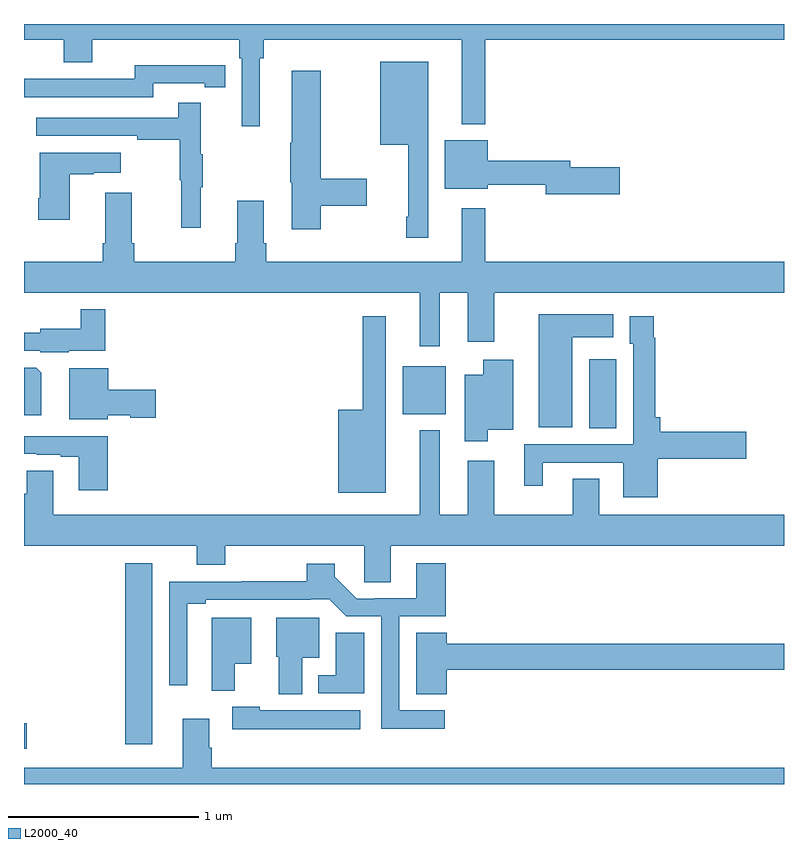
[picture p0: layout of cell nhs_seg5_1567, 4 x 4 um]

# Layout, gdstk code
import gdstk
lib = gdstk.Library(unit=1e-6, precision=1e-09)
def R(c, l, rs):  # rectangles x0, y0, x1, y1
    for r in rs: c.add(gdstk.rectangle(r[:2], r[2:], *l))
def P(c, l, *ps):  # polygons
    for p in ps: c.add(gdstk.Polygon(p, *l))
L2000_40 = (2000, 40)

nhs_seg5_1567 = lib.new_cell('nhs_seg5_1567')
R(nhs_seg5_1567, L2000_40, [(205,896.984,205.015,897.119), (205.532,897.009,205.675,897.961), (207.974,898.672,208.117,899.035), (206.993,898.745,207.22,898.999)])
P(nhs_seg5_1567, L2000_40, [(206.242,900.62),(206.261,900.62),(206.261,900.716),(207.305,900.716),(207.305,900.272),(207.427,900.272),(207.427,900.716),(209,900.716),(209,900.799),(205,900.799),(205,900.716),(205.208,900.716),(205.208,900.599),(205.36,900.599),(205.36,900.716),(206.132,900.716),(206.132,900.62),(206.145,900.62),(206.145,900.261),(206.242,900.261)],
  [(207.127,900.601),(206.876,900.601),(206.876,900.164),(207.023,900.164),(207.023,899.785),(207.013,899.785),(207.013,899.673),(207.127,899.673)],
  [(205.68,900.486),(205.952,900.486),(205.952,900.466),(206.06,900.466),(206.06,900.582),(205.952,900.582),(205.952,900.583),(205.584,900.583),(205.584,900.51),(205.124,900.51),(205.124,900.512),(205,900.512),(205,900.414),(205.68,900.414)],
  [(206.562,899.842),(206.803,899.842),(206.803,899.984),(206.562,899.984),(206.562,900.553),(206.408,900.553),(206.408,900.173),(206.401,900.173),(206.401,899.967),(206.408,899.967),(206.408,899.718),(206.562,899.718)],
  [(205.931,899.939),(205.942,899.939),(205.942,900.113),(205.931,900.113),(205.931,900.385),(205.813,900.385),(205.813,900.306),(205.065,900.306),(205.065,900.21),(205.597,900.21),(205.597,900.19),(205.821,900.19),(205.821,899.976),(205.828,899.976),(205.828,899.727),(205.931,899.727)],
  [(208.135,900.044),(207.874,900.044),(207.874,900.08),(207.442,900.08),(207.442,900.187),(207.215,900.187),(207.215,899.933),(207.442,899.933),(207.442,899.952),(207.746,899.952),(207.746,899.902),(208.135,899.902)],
  [(205.24,900.007),(205.367,900.007),(205.367,900.017),(205.51,900.017),(205.51,900.121),(205.082,900.121),(205.082,899.881),(205.075,899.881),(205.075,899.769),(205.24,899.769)],
  [(207.187,899.384),(207.335,899.384),(207.335,899.127),(207.475,899.127),(207.475,899.384),(209,899.384),(209,899.548),(207.427,899.548),(207.427,899.83),(207.305,899.83),(207.305,899.548),(206.276,899.548),(206.276,899.644),(206.263,899.644),(206.263,899.869),(206.123,899.869),(206.123,899.644),(206.111,899.644),(206.111,899.548),(205.58,899.548),(205.58,899.644),(205.567,899.644),(205.567,899.911),(205.427,899.911),(205.427,899.644),(205.415,899.644),(205.415,899.548),(205,899.548),(205,899.384),(207.083,899.384),(207.083,899.103),(207.187,899.103)],
  [(205.236,899.078),(205.427,899.078),(205.427,899.299),(205.299,899.299),(205.299,899.194),(205.086,899.194),(205.086,899.175),(205,899.175),(205,899.079),(205.086,899.079),(205.086,899.072),(205.236,899.072)],
  [(207.886,899.15),(208.102,899.15),(208.102,899.272),(207.71,899.272),(207.71,898.676),(207.886,898.676)],
  [(208.336,898.51),(208.801,898.51),(208.801,898.652),(208.349,898.652),(208.349,898.729),(208.322,898.729),(208.322,899.147),(208.315,899.147),(208.315,899.26),(208.187,899.26),(208.187,899.115),(208.206,899.115),(208.206,898.587),(207.632,898.587),(207.632,898.368),(207.73,898.368),(207.73,898.491),(208.154,898.491),(208.154,898.307),(208.336,898.307)],
  [(206.905,899.26),(206.784,899.26),(206.784,898.768),(206.654,898.768),(206.654,898.331),(206.905,898.331)],
  [(207.442,898.664),(207.574,898.664),(207.574,899.032),(207.416,899.032),(207.416,898.954),(207.32,898.954),(207.32,898.602),(207.442,898.602)],
  [(205.09,898.964),(205.064,898.99),(205,898.99),(205,898.739),(205.09,898.739)],
  [(205.44,898.739),(205.56,898.739),(205.56,898.727),(205.693,898.727),(205.693,898.874),(205.444,898.874),(205.444,898.988),(205.238,898.988),(205.238,898.718),(205.44,898.718)],
  [(206.929,898.052),(209,898.052),(209,898.216),(208.027,898.216),(208.027,898.406),(207.887,898.406),(207.887,898.216),(207.475,898.216),(207.475,898.501),(207.335,898.501),(207.335,898.216),(207.187,898.216),(207.187,898.66),(207.083,898.66),(207.083,898.216),(205.153,898.216),(205.153,898.448),(205.014,898.448),(205.014,898.326),(205.001,898.326),(205.001,898.216),(205,898.216),(205,898.052),(205.91,898.052),(205.91,897.953),(206.058,897.953),(206.058,898.052),(206.79,898.052),(206.79,897.862),(206.929,897.862)],
  [(205.442,898.63),(205,898.63),(205,898.536),(205.066,898.536),(205.066,898.533),(205.193,898.533),(205.193,898.521),(205.289,898.521),(205.289,898.344),(205.442,898.344)],
  [(207.214,897.186),(206.976,897.186),(206.976,897.681),(207.221,897.681),(207.221,897.961),(207.065,897.961),(207.065,897.777),(206.845,897.777),(206.845,897.774),(206.751,897.774),(206.635,897.89),(206.635,897.958),(206.488,897.958),(206.488,897.866),(206.146,897.866),(206.146,897.864),(205.764,897.864),(205.764,897.318),(205.86,897.318),(205.86,897.748),(205.957,897.748),(205.957,897.768),(206.51,897.768),(206.51,897.771),(206.606,897.771),(206.696,897.681),(206.88,897.681),(206.88,897.089),(207.214,897.089)],
  [(206.11,897.431),(206.197,897.431),(206.197,897.673),(205.988,897.673),(205.988,897.29),(206.11,897.29)],
  [(206.464,897.464),(206.554,897.464),(206.554,897.673),(206.327,897.673),(206.327,897.468),(206.342,897.468),(206.342,897.272),(206.464,897.272)],
  [(207.226,897.4),(209,897.4),(209,897.536),(207.226,897.536),(207.226,897.596),(207.065,897.596),(207.065,897.271),(207.226,897.271)],
  [(206.791,897.596),(206.642,897.596),(206.642,897.372),(206.549,897.372),(206.549,897.276),(206.791,897.276)],
  [(206.77,897.187),(206.241,897.187),(206.241,897.205),(206.097,897.205),(206.097,897.086),(206.77,897.086)],
  [(209,896.884),(205.988,896.884),(205.988,896.99),(205.975,896.99),(205.975,897.142),(205.835,897.142),(205.835,896.884),(205,896.884),(205,896.799),(209,896.799)])

lib.write_gds('nhs_seg5_1567.gds')
